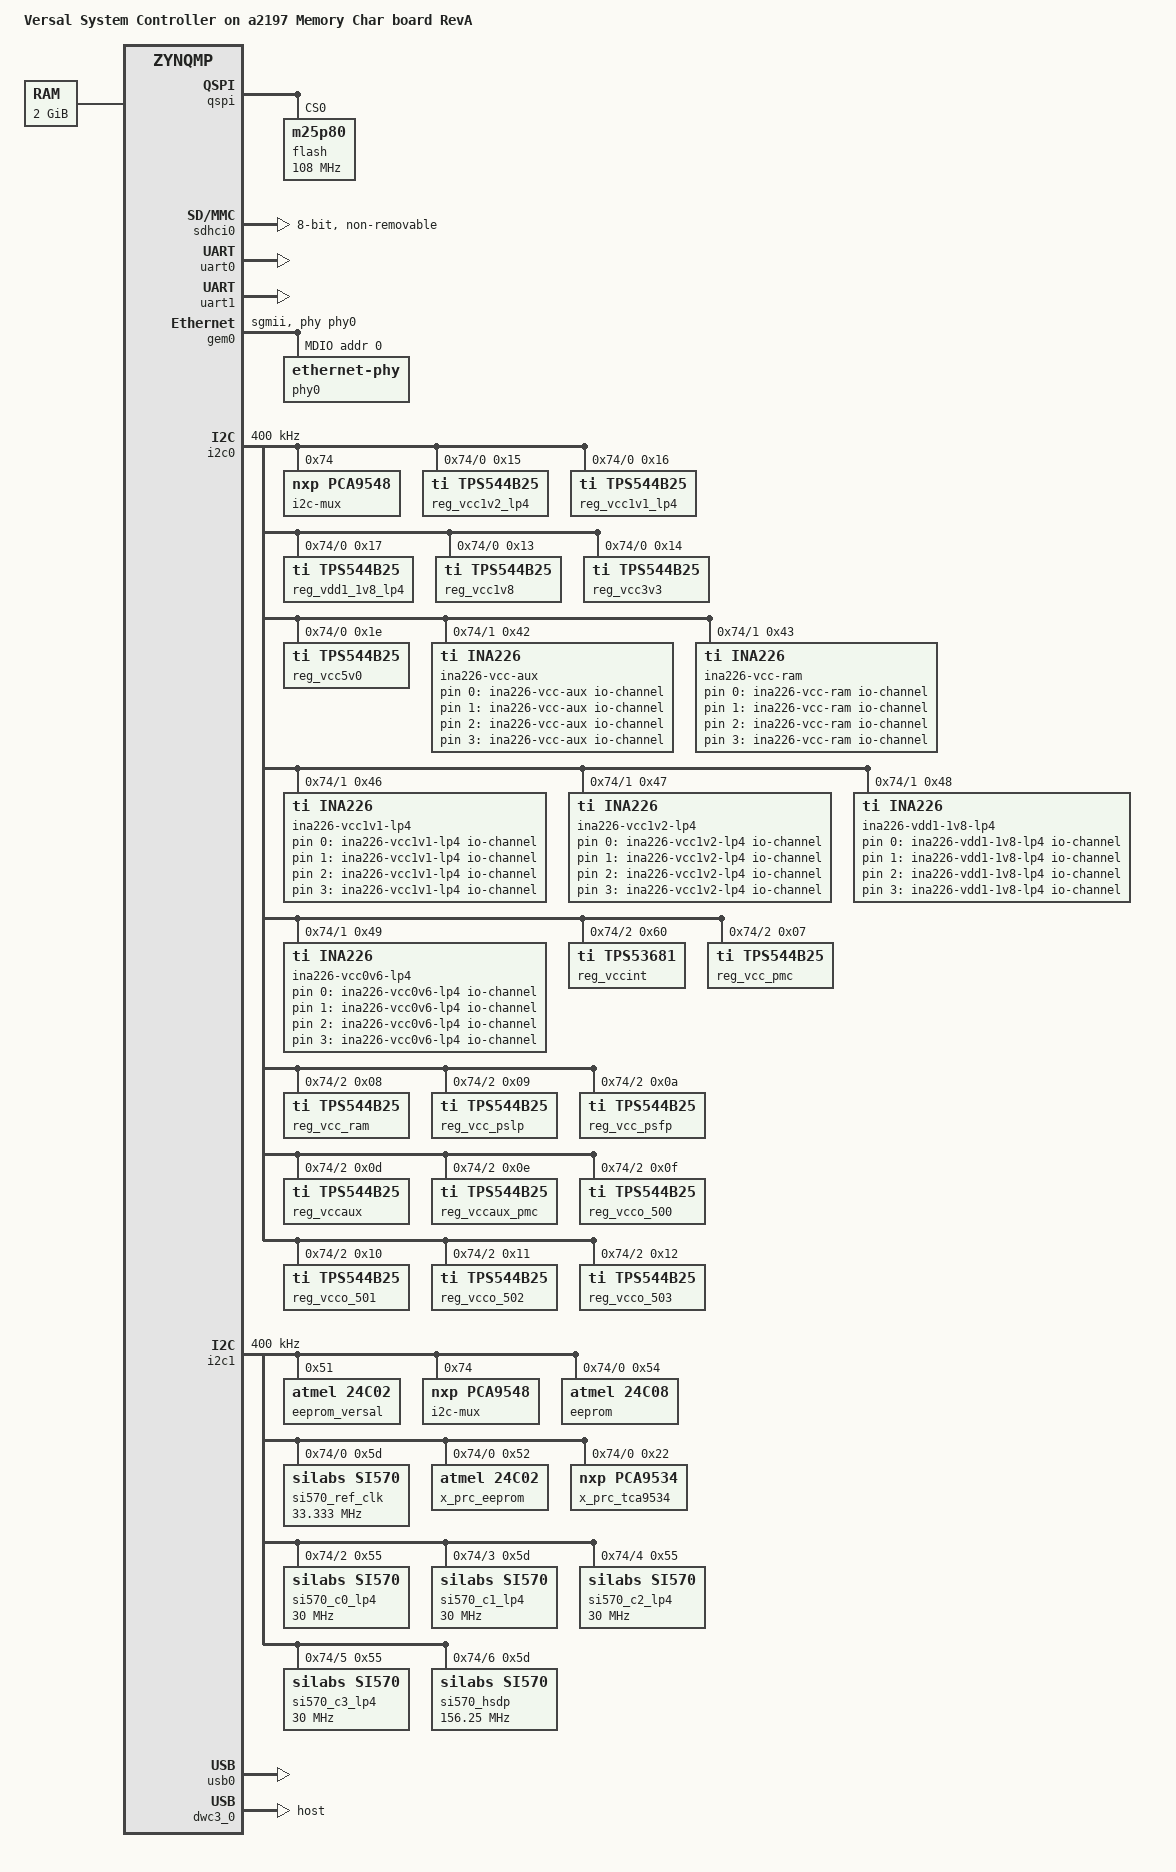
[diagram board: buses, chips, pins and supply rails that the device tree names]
// SPDX-License-Identifier: GPL-2.0
/*
 * dts file for Xilinx Versal a2197 RevA System Controller
 *
 * (C) Copyright 2019, Xilinx, Inc.
 *
 * Michal Simek <michal.simek@amd.com>
 */
/dts-v1/;

#include "zynqmp.dtsi"
#include "zynqmp-clk-ccf.dtsi"
#include <dt-bindings/gpio/gpio.h>

/ {
	model = "Versal System Controller on a2197 Memory Char board RevA";
	compatible = "xlnx,zynqmp-m-a2197-01-revA", "xlnx,zynqmp-a2197-revA",
		     "xlnx,zynqmp-a2197", "xlnx,zynqmp";

	aliases {
		ethernet0 = &gem0;
		i2c0 = &i2c0;
		i2c1 = &i2c1;
		mmc0 = &sdhci0;
		mmc1 = &sdhci1;
		nvmem0 = &eeprom;
		rtc0 = &rtc;
		serial0 = &uart0;
		serial1 = &uart1;
		serial2 = &dcc;
		usb0 = &usb0;
		usb1 = &usb1;
		spi0 = &qspi;
	};

	chosen {
		bootargs = "earlycon";
		stdout-path = "serial0:115200n8";
	};

	memory@0 {
		device_type = "memory";
		reg = <0x0 0x0 0x0 0x80000000>; /* FIXME don't know how big memory is there */
	};

	ina226-vcc-aux {
		compatible = "iio-hwmon";
		io-channels = <&vcc_aux 0>, <&vcc_aux 1>, <&vcc_aux 2>, <&vcc_aux 3>;
	};
	ina226-vcc-ram {
		compatible = "iio-hwmon";
		io-channels = <&vcc_ram 0>, <&vcc_ram 1>, <&vcc_ram 2>, <&vcc_ram 3>;
	};
	ina226-vcc1v1-lp4 {
		compatible = "iio-hwmon";
		io-channels = <&vcc1v1_lp4 0>, <&vcc1v1_lp4 1>, <&vcc1v1_lp4 2>, <&vcc1v1_lp4 3>;
	};
	ina226-vcc1v2-lp4 {
		compatible = "iio-hwmon";
		io-channels = <&vcc1v2_lp4 0>, <&vcc1v2_lp4 1>, <&vcc1v2_lp4 2>, <&vcc1v2_lp4 3>;
	};
	ina226-vdd1-1v8-lp4 {
		compatible = "iio-hwmon";
		io-channels = <&vdd1_1v8_lp4 0>, <&vdd1_1v8_lp4 1>, <&vdd1_1v8_lp4 2>, <&vdd1_1v8_lp4 3>;
	};
	ina226-vcc0v6-lp4 {
		compatible = "iio-hwmon";
		io-channels = <&vcc0v6_lp4 0>, <&vcc0v6_lp4 1>, <&vcc0v6_lp4 2>, <&vcc0v6_lp4 3>;
	};
};

&qspi {
	status = "okay";
	num-cs = <2>;
	flash@0 {
		compatible = "m25p80", "jedec,spi-nor"; /* 32MB */
		reg = <0>, <1>;
		parallel-memories = /bits/ 64 <0x4000000 0x4000000>; /* 64MB */
		#address-cells = <1>;
		#size-cells = <1>;
		spi-tx-bus-width = <4>;
		spi-rx-bus-width = <4>;
		spi-max-frequency = <108000000>;
	};
};

&sdhci0 { /* emmc MIO 13-23 - with some settings  16GB */
	status = "okay";
	non-removable;
	disable-wp;
	bus-width = <8>;
	xlnx,mio-bank = <0>; /* FIXME tap delay */
};

&uart0 { /* uart0 MIO38-39 */
	status = "okay";
};

&uart1 { /* uart1 MIO40-41 */
	status = "okay";
};

&sdhci1 { /* sd1 MIO45-51 cd in place */
	status = "disable";
	no-1-8-v;
	disable-wp;
	xlnx,mio-bank = <1>;
};

&gem0 {
	status = "okay";
	phy-handle = <&phy0>;
	phy-mode = "sgmii"; /* DTG generates this properly  1512 */
	mdio: mdio {
		#address-cells = <1>;
		#size-cells = <0>;
		reset-gpios = <&gpio 142 GPIO_ACTIVE_LOW>;
		phy0: ethernet-phy@0 { /* marwell m88e1512 - SGMII */
			reg = <0>;
/*		xlnx,phy-type = <PHY_TYPE_SGMII>; */
		};
	};
};

&gpio {
	status = "okay";
	gpio-line-names = "SCLK_OUT", "MISO_MO1", "MO2", "MO3", "MOSI_MIO0", /* 0 - 4 */
		  "N_SS_OUT", "", "SYS_CTRL0", "SYS_CTRL1", "SYS_CTRL2", /* 5 - 9 */
		  "SYS_CTRL3", "SYS_CTRL4", "SYS_CTRL5", "EMMC_DAT0", "EMMC_DAT1", /* 10 - 14 */
		  "EMMC_DAT2", "EMMC_DAT3", "EMMC_DAT4", "EMMC_DAT5", "EMMC_DAT6", /* 15 - 19 */
		  "EMMC_DAT7", "EMMC_CMD", "EMMC_CLK", "EMMC_RST_B", "", /* 20 - 24 */
		  "", "RXD0_IN", "TXD0_OUT", "TXD1_OUT", "RXD1_IN", /* 25 - 29 */
		  "", "", "", "", "LP_I2C0_PMC_SCL", /* 30 - 34 */
		  "LP_I2C0_PMC_SDA", "LP_I2C1_SCL", "LP_I2C1_SDA", "UART0_RXD_IN", "UART0_TXD_OUT", /* 35 - 39 */
		  "UART1_TXD_OUT", "UART1_RXD_IN", "ETH_RESET_B", "", "", /* 40 - 44 */
		  "SD1_CD_B", "SD1_DATA0", "SD1_DATA1", "SD1_DATA2", "SD1_DATA3", /* 45 - 49 */
		  "SD1_CMD", "SD1_CLK", "USB0_CLK", "USB0_DIR", "USB0_DATA2", /* 50 - 54 */
		  "USB0_NXT", "USB0_DATA0", "USB0_DATA1", "USB0_STP", "USB0_DATA3", /* 55 - 59 */
		  "USB0_DATA4", "USB0_DATA5", "USB0_DATA6", "USB0_DATA7", "USB1_CLK", /* 60 - 64 */
		  "USB1_DIR", "USB1_DATA2", "USB1_NXT", "USB1_DATA0", "USB1_DATA1", /* 65 - 69 */
		  "USB1_STP", "USB1_DATA3", "USB1_DATA4", "USB1_DATA5", "USB1_DATA6", /* 70 - 74 */
		  "USB1_DATA7", "ETH_MDC", "ETH_MDIO", /* 75 - 77, MIO end and EMIO start */
		  "", "", "", "", "", /* 78 - 79 */
		  "", "", "", "", "", /* 80 - 84 */
		  "", "", "", "", "", /* 85 -89 */
		  "", "", "", "", "", /* 90 - 94 */
		  "", "", "", "", "", /* 95 - 99 */
		  "", "", "", "", "", /* 100 - 104 */
		  "", "", "", "", "", /* 105 - 109 */
		  "", "", "", "", "", /* 110 - 114 */
		  "", "", "", "", "", /* 115 - 119 */
		  "", "", "", "", "", /* 120 - 124 */
		  "", "", "", "", "", /* 125 - 129 */
		  "", "", "", "", "", /* 130 - 134 */
		  "", "", "", "", "", /* 135 - 139 */
		  "", "", "", "", "", /* 140 - 144 */
		  "", "", "", "", "", /* 145 - 149 */
		  "", "", "", "", "", /* 150 - 154 */
		  "", "", "", "", "", /* 155 - 159 */
		  "", "", "", "", "", /* 160 - 164 */
		  "", "", "", "", "", /* 165 - 169 */
		  "", "", "", ""; /* 170 - 173 */
};

&i2c0 { /* MIO 34-35 - can't stay here */
	status = "okay";
	clock-frequency = <400000>;
	i2c-mux@74 { /* u46 */
		compatible = "nxp,pca9548";
		#address-cells = <1>;
		#size-cells = <0>;
		reg = <0x74>;
		/* FIXME reset connected to SYSCTRL_IIC_MUX0_RESET */
		i2c@0 { /* PMBUS  must be enabled via SW21 */
			#address-cells = <1>;
			#size-cells = <0>;
			reg = <0>;
			reg_vcc1v2_lp4: tps544@15 { /* u97 */
				compatible = "ti,tps544b25";
				reg = <0x15>;
			};
			reg_vcc1v1_lp4: tps544@16 { /* u95 */
				compatible = "ti,tps544b25";
				reg = <0x16>;
			};
			reg_vdd1_1v8_lp4: tps544@17 { /* u99 */
				compatible = "ti,tps544b25";
				reg = <0x17>;
			};
			/* UTIL_PMBUS connection */
			reg_vcc1v8: tps544@13 { /* u92 */
				compatible = "ti,tps544b25";
				reg = <0x13>;
			};
			reg_vcc3v3: tps544@14 { /* u93 */
				compatible = "ti,tps544b25";
				reg = <0x14>;
			};
			reg_vcc5v0: tps544@1e { /* u94 */
				compatible = "ti,tps544b25";
				reg = <0x1e>;
			};
		};
		i2c@1 { /* PMBUS_INA226 */
			#address-cells = <1>;
			#size-cells = <0>;
			reg = <1>;
			vcc_aux: ina226@42 { /* u86 */
				compatible = "ti,ina226";
				#io-channel-cells = <1>;
				label = "ina226-vcc-aux";
				reg = <0x42>;
				shunt-resistor = <5000>;
			};
			vcc_ram: ina226@43 { /* u81 */
				compatible = "ti,ina226";
				#io-channel-cells = <1>;
				label = "ina226-vcc-ram";
				reg = <0x43>;
				shunt-resistor = <5000>;
			};
			vcc1v1_lp4: ina226@46 { /* u96 */
				compatible = "ti,ina226";
				#io-channel-cells = <1>;
				label = "ina226-vcc1v1-lp4";
				reg = <0x46>;
				shunt-resistor = <5000>;
			};
			vcc1v2_lp4: ina226@47 { /* u98 */
				compatible = "ti,ina226";
				#io-channel-cells = <1>;
				label = "ina226-vcc1v2-lp4";
				reg = <0x47>;
				shunt-resistor = <5000>;
			};
			vdd1_1v8_lp4: ina226@48 { /* u100 */
				compatible = "ti,ina226";
				#io-channel-cells = <1>;
				label = "ina226-vdd1-1v8-lp4";
				reg = <0x48>;
				shunt-resistor = <5000>;
			};
			vcc0v6_lp4: ina226@49 { /* u101 */
				compatible = "ti,ina226";
				#io-channel-cells = <1>;
				label = "ina226-vcc0v6-lp4";
				reg = <0x49>;
				shunt-resistor = <5000>;
			};
		};
		i2c@2 { /* PMBUS1 */
			#address-cells = <1>;
			#size-cells = <0>;
			reg = <2>;
			reg_vccint: tps53681@60 { /* u69 - 0xc0 */
				compatible = "ti,tps53681", "ti,tps53679";
				reg = <0x60>;
			};
			reg_vcc_pmc: tps544@7 { /* u80 */
				compatible = "ti,tps544b25";
				reg = <0x7>;
			};
			reg_vcc_ram: tps544@8 { /* u82 */
				compatible = "ti,tps544b25";
				reg = <0x8>;
			};
			reg_vcc_pslp: tps544@9 { /* u83 */
				compatible = "ti,tps544b25";
				reg = <0x9>;
			};
			reg_vcc_psfp: tps544@a { /* u84 */
				compatible = "ti,tps544b25";
				reg = <0xa>;
			};
			reg_vccaux: tps544@d { /* u85 */
				compatible = "ti,tps544b25";
				reg = <0xd>;
			};
			reg_vccaux_pmc: tps544@e { /* u87 */
				compatible = "ti,tps544b25";
				reg = <0xe>;
			};
			reg_vcco_500: tps544@f { /* u88 */
				compatible = "ti,tps544b25";
				reg = <0xf>;
			};
			reg_vcco_501: tps544@10 { /* u89 */
				compatible = "ti,tps544b25";
				reg = <0x10>;
			};
			reg_vcco_502: tps544@11 { /* u90 */
				compatible = "ti,tps544b25";
				reg = <0x11>;
			};
			reg_vcco_503: tps544@12 { /* u91 */
				compatible = "ti,tps544b25";
				reg = <0x12>;
			};
		};
		i2c@3 { /* MEM PMBUS - FIXME bug in schematics */
			#address-cells = <1>;
			#size-cells = <0>;
			/* reg = <3>; */
		};
		i2c@4 { /* LP_I2C_SM */
			#address-cells = <1>;
			#size-cells = <0>;
			reg = <4>;
			/* connected to U20G */
		};
		/* 5-7 unused */
	};
};

/* TODO sysctrl via J239 */
/* TODO samtec J212G/H via J242 */
/* TODO teensy via U30 PCA9543A bus 1 */
&i2c1 { /* i2c1 MIO 36-37 */
	status = "okay";
	clock-frequency = <400000>;

	/* Must be enabled via J242 */
	eeprom_versal: eeprom@51 { /* x-prc-01-revA u116, x-prc-02-revA u12 */
		compatible = "atmel,24c02";
		reg = <0x51>;
	};

	i2c-mux@74 { /* u47 */
		compatible = "nxp,pca9548";
		#address-cells = <1>;
		#size-cells = <0>;
		reg = <0x74>;
		/* FIXME reset connected to SYSCTRL_IIC_MUX1_RESET */
		dc_i2c: i2c@0 { /* DC_I2C */
			#address-cells = <1>;
			#size-cells = <0>;
			reg = <0>;
			/* Use for storing information about SC board */
			eeprom: eeprom@54 { /* u51 - m24128 16kB FIXME addr */
				compatible = "atmel,24c08";
				reg = <0x54>;
			};
			si570_ref_clk: clock-generator@5d { /* u26 */
				#clock-cells = <0>;
				compatible = "silabs,si570";
				reg = <0x5d>; /* FIXME addr */
				temperature-stability = <50>;
				factory-fout = <33333333>;
				clock-frequency = <33333333>;
				clock-output-names = "REF_CLK"; /* FIXME */
				silabs,skip-recall;
			};
			/* Connection via Samtec U20D */
			/* Use for storing information about X-PRC card */
			x_prc_eeprom: eeprom@52 { /* x-prc-01-revA u120, x-prc-02-revA u16 */
				compatible = "atmel,24c02";
				reg = <0x52>;
			};

			/* Use for setting up certain features on X-PRC card */
			x_prc_tca9534: gpio@22 { /* x-prc-01-revA u121, x-prc-02-revA u17 */
				compatible = "nxp,pca9534";
				reg = <0x22>;
				gpio-controller; /* IRQ not connected */
				#gpio-cells = <2>;
				gpio-line-names = "sw4_1", "sw4_2", "sw4_3", "sw4_4",
						  "", "", "", "";
				gtr-sel0 {
					gpio-hog;
					gpios = <0 0>;
					input; /* FIXME add meaning */
					line-name = "sw4_1";
				};
				gtr-sel1 {
					gpio-hog;
					gpios = <1 0>;
					input; /* FIXME add meaning */
					line-name = "sw4_2";
				};
				gtr-sel2 {
					gpio-hog;
					gpios = <2 0>;
					input; /* FIXME add meaning */
					line-name = "sw4_3";
				};
				gtr-sel3 {
					gpio-hog;
					gpios = <3 0>;
					input; /* FIXME add meaning */
					line-name = "sw4_4";
				};
			};
		};
		i2c@2 { /* C0_LP4 */
			#address-cells = <1>;
			#size-cells = <0>;
			reg = <2>;
			si570_c0_lp4: clock-generator@55 { /* u10 */
				#clock-cells = <0>;
				compatible = "silabs,si570";
				reg = <0x55>;
				temperature-stability = <50>;
				factory-fout = <30000000>;
				clock-frequency = <30000000>;
				clock-output-names = "C0_LP4_SI570_CLK";
			};
		};
		i2c@3 { /* C1_LP4 */
			#address-cells = <1>;
			#size-cells = <0>;
			reg = <3>;
			si570_c1_lp4: clock-generator@5d { /* u10 */
				#clock-cells = <0>;
				compatible = "silabs,si570";
				reg = <0x5d>; /* FIXME addr */
				temperature-stability = <50>;
				factory-fout = <30000000>;
				clock-frequency = <30000000>;
				clock-output-names = "C1_LP4_SI570_CLK";
			};
		};
		i2c@4 { /* C2_LP4 */
			#address-cells = <1>;
			#size-cells = <0>;
			reg = <4>;
			si570_c2_lp4: clock-generator@55 { /* u10 */
				#clock-cells = <0>;
				compatible = "silabs,si570";
				reg = <0x55>;
				temperature-stability = <50>;
				factory-fout = <30000000>;
				clock-frequency = <30000000>;
				clock-output-names = "C2_LP4_SI570_CLK";
			};
		};
		i2c@5 { /* C3_LP4 */
			#address-cells = <1>;
			#size-cells = <0>;
			reg = <5>;
			si570_c3_lp4: clock-generator@55 { /* u15 */
				#clock-cells = <0>;
				compatible = "silabs,si570";
				reg = <0x55>;
				temperature-stability = <50>;
				factory-fout = <30000000>;
				clock-frequency = <30000000>;
				clock-output-names = "C3_LP4_SI570_CLK";
			};
		};
		i2c@6 { /* HSDP_SI570 */
			#address-cells = <1>;
			#size-cells = <0>;
			reg = <6>;
			si570_hsdp: clock-generator@5d { /* u19 */
				#clock-cells = <0>;
				compatible = "silabs,si570";
				reg = <0x5d>; /* FIXME addr */
				temperature-stability = <50>;
				factory-fout = <156250000>;
				clock-frequency = <156250000>;
				clock-output-names = "HSDP_SI570";
			};
		};
	};
};

&usb0 {
	status = "okay";
};

&dwc3_0 {
	status = "okay";
	dr_mode = "host";
	/* dr_mode = "peripheral"; */
	maximum-speed = "high-speed";
};

&usb1 {
	status = "disabled"; /* not at mem board */
};

&dwc3_1 {
	/delete-property/ phy-names ;
	/delete-property/ phys ;
	maximum-speed = "high-speed";
	snps,dis_u2_susphy_quirk ;
	snps,dis_u3_susphy_quirk ;
	status = "disabled";
};
